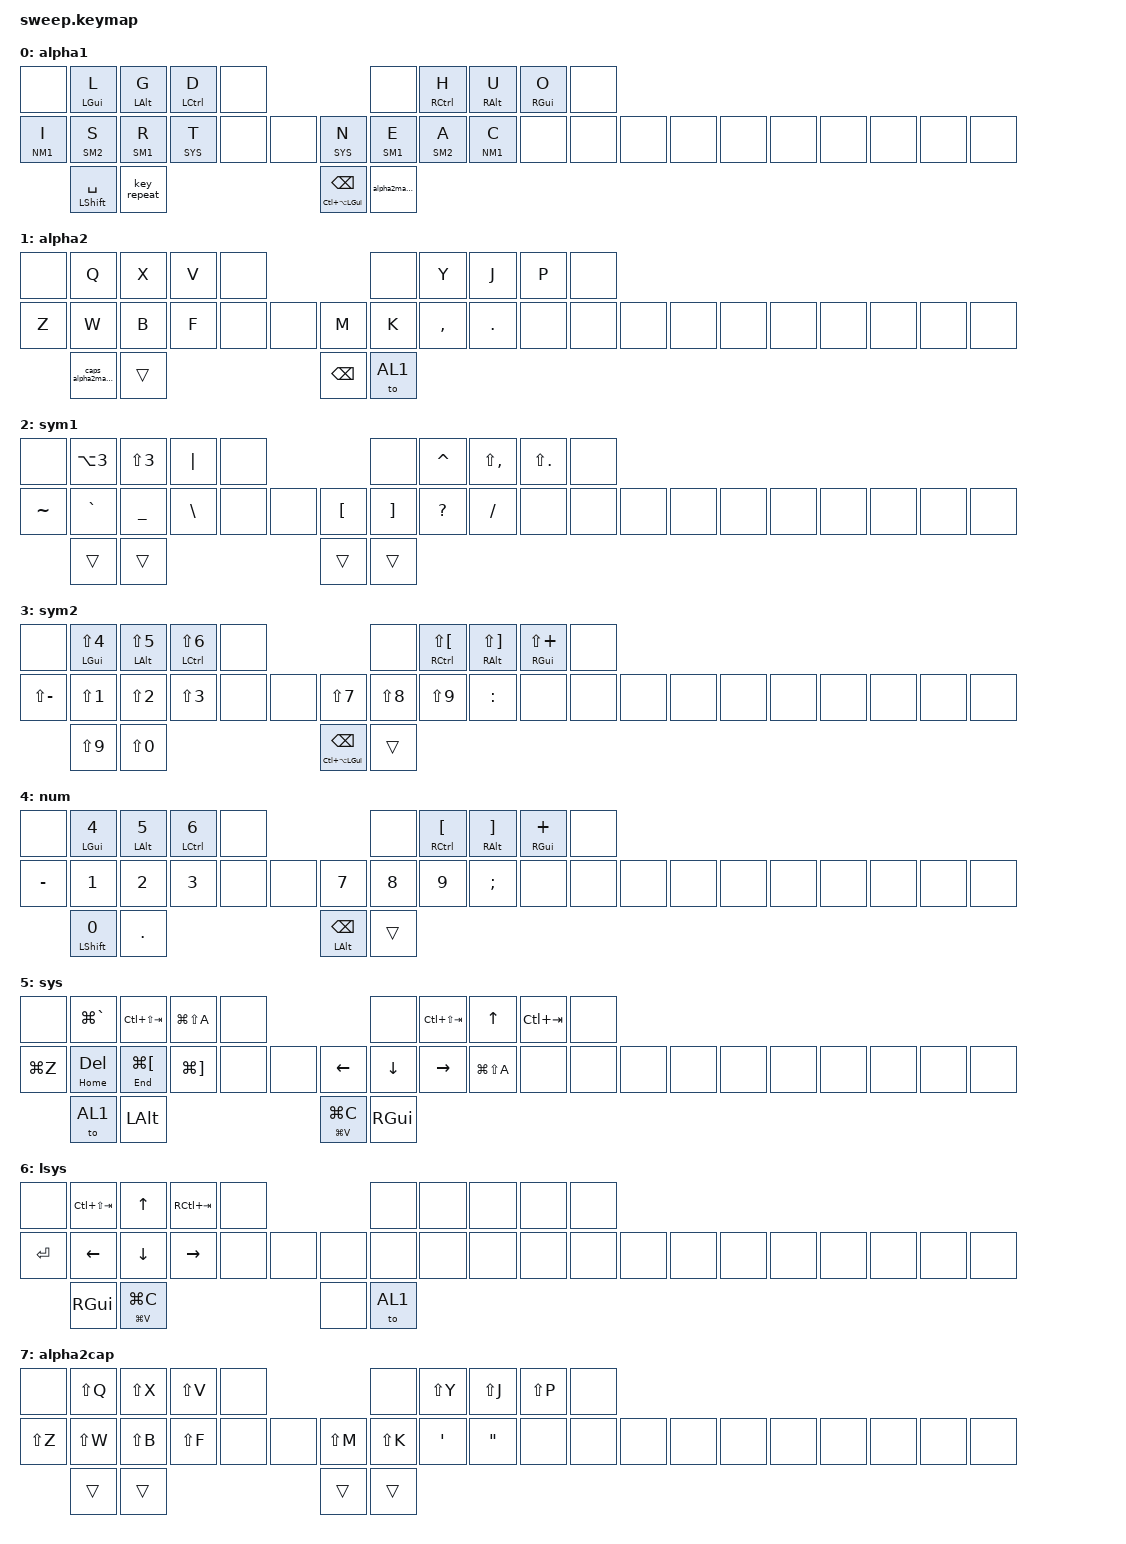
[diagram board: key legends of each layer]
/*
 * Copyright (c) 2020 The ZMK Contributors
 *
 * SPDX-License-Identifier: MIT
 */

#include <behaviors.dtsi>
#include <dt-bindings/zmk/keys.h>
#include <dt-bindings/zmk/bt.h>
#include <dt-bindings/zmk/mouse.h>



&mt {
	tapping-term-ms = <201>;
	flavor = "tap-preferred";
};
&sk {
	release-after-ms = <2000>;
	quick-release;
};

/* Layers */
#define AL1 0
#define AL2 1
#define SM1 2
#define SM2 3	
#define NM1 4	
#define SYS 5
#define LSYS 6	
#define AL2U 7
/ { 
	combos {
		compatible = "zmk,combos";
		combo_sys {
			timeout-ms = <30>;
			key-positions = <6 7 8>;
			bindings = <&to SYS>;
		};
		combo_lsys {
			timeout-ms = <30>;
			key-positions = <1 2 3>;
			bindings = <&to LSYS>;
		};
		combo_caps {
			timeout-ms = <30>;
			key-positions = <16 17 18>;
			bindings = <&caps_word>;
		};
		lclk {
			timeout-ms = <20>;
			key-positions = <16 17>;
			bindings = <&mkp LCLK>;
			layers = <SYS>;
		};
		rclk {
			timeout-ms = <20>;
			key-positions = <6 7>;
			bindings = <&mkp RCLK>;
			layers = <SYS>;
		};
		llclk {
			timeout-ms = <20>;
			key-positions = <12 13>;
			bindings = <&mkp LCLK>;
			layers = <LSYS>;
		};
		lrclk {
			timeout-ms = <20>;
			key-positions = <2 3>;
			bindings = <&mkp RCLK>;
			layers = <LSYS>;
		};
		combo_del {
			timeout-ms = <30>;
			key-positions = <17 18>;
			bindings = <&kp DEL>;
			layers = <AL1>;
		};
    		combo_enter {
			timeout-ms = <30>;
			key-positions = <7 8>;
			bindings = <&kp RET>;
			layers = <AL1>;
   		 };
 	 	combo_tab {
			timeout-ms = <30>;
			key-positions = <1 2>;
			bindings = <&kp TAB>;
			layers = <AL1>;
    		};
    		combo_esc {
			timeout-ms = <30>;
			key-positions = <11 12>;
			bindings = <&kp ESC>;
			layers = <AL1>;
	 	};

	};

	behaviors {
		hm_l: homerow_mods_left {
			compatible = "zmk,behavior-hold-tap";
			label = "HOMEROW_MODS_L";
			#binding-cells = <2>;
			tapping-term-ms = <200>;
			quick-tap-ms = <250>;
			flavor = "tap-preferred";
			bindings = <&kp>, <&kp>;
			hold-trigger-key-positions = <6 7 8 16 17 18 19>; // right hand
		};
		hm_r: homerow_mods_right {
			compatible = "zmk,behavior-hold-tap";
			label = "HOMEROW_MODS_R";
			#binding-cells = <2>;
			tapping-term-ms = <200>;
			quick-tap-ms = <250>;
			flavor = "tap-preferred";
			bindings = <&kp>, <&kp>;
			hold-trigger-key-positions = <1 2 3 10 11 12 13>; // left hand
		};
		sr: shift_layer {
			compatible = "zmk,behavior-hold-tap";
			label = "SHIFT_LAYER";
			#binding-cells = <2>;
			tapping-term-ms = <300>;
			quick_tap_ms = <0>;
			flavor = "tap-preferred";
			bindings = <&kp>, <&to>;
			retro-tap;
		};
		hl_l: homerow_layers_left {
			compatible = "zmk,behavior-hold-tap";
			label = "HOMEROW_LAYERS_L";
			#binding-cells = <2>;
			tapping-term-ms = <200>;
			quick-tap-ms = <250>;
			flavor = "tap-preferred";
			bindings = <&mo>, <&kp>;
			hold-trigger-key-positions = <3 4 5 10 11 12 13 14>; // right hand
		};
		hl_r: homerow_layers_right {
			compatible = "zmk,behavior-hold-tap";
			label = "HOMEROW_LAYERS_R";
			#binding-cells = <2>;
			tapping-term-ms = <200>;
			quick-tap-ms = <250>;
			flavor = "tap-preferred";
			bindings = <&mo>, <&kp>;
			hold-trigger-key-positions = <0 1 2 6 7 8 9>; // left hand
		};
		td: tapdance {
			compatible = "zmk,behavior-hold-tap";
			label = "TAPDANCE";
			#binding-cells = <2>;
			tapping-term-ms = <190>;
			quick-tap-ms = <250>;
			flavor = "tap-preferred";
			bindings = <&kp>, <&kp>;
		};
		alpha2macro: behavior_macro_1 {
			compatible = "zmk,behavior-macro";
			label = "MACRO1";
			#binding-cells = <0>;
			bindings = < &sl AL2 >;
		};
		caps_alpha2macro: behavior_macro_2 {
			compatible = "zmk,behavior-macro";
			label = "MACRO2";
			#binding-cells = <0>;
			bindings = < &sl AL2U >;
		};
	};

	//			00	01	02			03	04	05
	//		06	07	08	09			10	11	12	13
	//					14	15	16	17

	keymap {
		compatible = "zmk,keymap";

		alpha1 {
			bindings = <
					&none	&hm_l LGUI L	&hm_l LALT G		&hm_l LCTL D	&none	&none	&hm_r RCTL H	&hm_r RALT U	&hm_r RGUI O	&none  
				&hl_l NM1 I	&hl_l SM2 S	&hl_l SM1 R		&hl_l SYS T	&none	&none	&hl_r SYS N	&hl_r SM1 E	&hl_r SM2 A	&hl_r NM1 C	&none	&none	&none	&none	&none	&none	&none	&none	&none	&none
								&mt LSHIFT SPC		&key_repeat			&mt LC(LA(LGUI)) BKSP	&alpha2macro
			>;
		};

		alpha2 {
			bindings = <
				&none	&kp Q	&kp X	&kp V	&none	&none	&kp Y	&kp J		&kp P	&none
				&kp Z	&kp W	&kp B	&kp F	&none	&none	&kp M	&kp K		&kp COMMA	&kp DOT	&none	&none	&none	&none	&none	&none	&none	&none	&none	&none
						&caps_alpha2macro	&trans				&kp BKSP	&to AL1	
			>;
		};

		sym1 {
			bindings = <
				&none	&kp LA(N3)	&kp LS(N3)	&kp PIPE	&none	&none	&kp CARET	&kp LS(COMMA)	&kp LS(DOT)	&none		
			&kp TILDE	&kp GRAVE	&kp UNDER	&kp BSLH	&none	&none	&kp LBKT	&kp RBKT	&kp QMARK 	&kp FSLH	&none	&none	&none	&none	&none	&none	&none	&none	&none	&none	
							&trans		&trans				&trans		&trans
			>;
		};

		sym2 {
		bindings = <
				&none		&hm_l LGUI LS(N4) 	&hm_l LALT LS(N5)	&hm_l LCTL LS(N6)	&none 	&none	&hm_r RCTL LS(LBKT) 	&hm_r RALT LS(RBKT)		&hm_r RGUI LS(PLUS)	&none	
				&kp LS(MINUS)	&kp LS(N1) 		&kp LS(N2)		&kp LS(N3)		&none	&none	&kp LS(N7)		&kp LS(N8)			&kp LS(N9)   		&kp COLON	&none	&none	&none	&none	&none	&none	&none	&none	&none	&none
									&kp LS(N9) 		&kp LS(N0) 				&mt LC(LA(LGUI)) BKSP 			&trans  	 
		>;
		};

		num {
		bindings = <
				&none		&hm_l LGUI N4	&hm_l LALT N5	&hm_l LCTL N6	&none	&none	&hm_r RCTL LBKT	&hm_r RALT RBKT	&hm_r RGUI PLUS	&none
				&kp MINUS	&kp N1		&kp N2		&kp N3		&none	&none	&kp N7 		&kp N8		&kp N9		&kp SEMI	&none	&none	&none	&none	&none	&none	&none	&none	&none	&none
								&mt LSHIFT N0 		&kp DOT 				&mt LALT BKSP		&trans  	 
		>;
		};
		
		sys {
			bindings = <
				&none			&kp LG(GRAVE)	&kp LC(LS(TAB))		&kp LG(LS(A))	&none	&none	&kp LC(LS(TAB))		&kp UP		&kp LC(TAB)	&none
				&kp LG(Z)		&td HOME DEL	&td END LG(LBKT)	&kp LG(RBKT)	&none	&none	&kp LEFT		&kp DOWN	&kp RIGHT	&kp LG(LS(A))	&none	&none	&none	&none	&none	&none	&none	&none	&none	&none
									&to AL1			&kp LALT			&td LG(V) LG(C)		&kp RGUI
			>;
		};
		
		lsys {
			bindings = <
				&none	&kp LC(LS(TAB))	&kp UP		&kp RC(TAB)	&none	&none	&none	&none	&none	&none
				&kp RET	&kp LEFT		&kp DOWN	&kp RIGHT	&none	&none	&none	&none	&none	&none	&none	&none	&none	&none	&none	&none	&none	&none	&none	&none
								&kp RGUI	&td LG(V) LG(C)			&none	&to AL1	
			>;
		};

		alpha2cap {
			bindings = <
				&none		&kp LS(Q)	&kp LS(X)	&kp LS(V)	&none	&none		&kp LS(Y)	&kp LS(J)		&kp LS(P)	&none
				&kp LS(Z)	&kp LS(W)	&kp LS(B)	&kp LS(F)	&none	&none		&kp LS(M)	&kp LS(K)	&kp SQT	&kp DQT	&none	&none	&none	&none	&none	&none	&none	&none	&none	&none
								&trans		&trans					&trans		&trans
			>;
		};

	};
};
